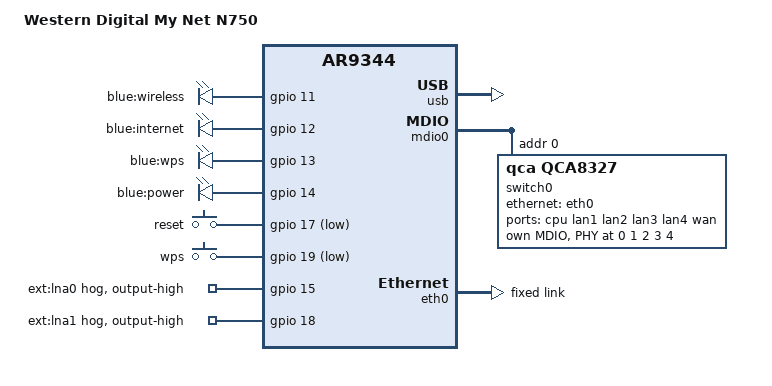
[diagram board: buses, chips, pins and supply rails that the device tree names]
// SPDX-License-Identifier: GPL-2.0-or-later OR MIT

#include "ar9344_wd_mynet-nxxx.dtsi"

/ {
	model = "Western Digital My Net N750";
	compatible = "wd,mynet-n750", "qca,ar9344";

	aliases {
		led-boot = &led_power;
		led-failsafe = &led_power;
		led-running = &led_power;
		led-upgrade = &led_power;
	};

	leds {
		compatible = "gpio-leds";

		wifi {
			label = "blue:wireless";
			gpios = <&gpio 11 GPIO_ACTIVE_HIGH>;
		};

		internet {
			label = "blue:internet";
			gpios = <&gpio 12 GPIO_ACTIVE_HIGH>;
		};

		wps {
			label = "blue:wps";
			gpios = <&gpio 13 GPIO_ACTIVE_HIGH>;
		};

		led_power: power {
			label = "blue:power";
			gpios = <&gpio 14 GPIO_ACTIVE_HIGH>;
		};
	};

	keys {
		compatible = "gpio-keys";

		reset {
			linux,code = <KEY_RESTART>;
			gpios = <&gpio 17 GPIO_ACTIVE_LOW>;
		};

		wps {
			linux,code = <KEY_WPS_BUTTON>;
			gpios = <&gpio 19 GPIO_ACTIVE_LOW>;
		};
	};
};

&gpio {
	gpio_ext_lna0 {
		gpio-hog;
		gpios = <15 0>;
		output-high;
		line-name = "ext:lna0";
	};

	gpio_ext_lna1 {
		gpio-hog;
		gpios = <18 0>;
		output-high;
		line-name = "ext:lna1";
	};
};

&usb {
	#address-cells = <1>;
	#size-cells = <0>;
	status = "okay";

	port@1 {
		#address-cells = <1>;
		#size-cells = <0>;
		reg = <1>;
		#trigger-source-cells = <0>;

		hub_port1: port@1 {
			reg = <1>;
			#trigger-source-cells = <0>;
		};

		hub_port2: port@2 {
			reg = <2>;
			#trigger-source-cells = <0>;
		};
	};
};

&mdio0 {
	status = "okay";

	phy-mask = <0>;

	switch0@10 {
		compatible = "qca,qca8327";
		#address-cells = <1>;
		#size-cells = <0>;

		reg = <0>;
		qca,ignore-power-on-sel;

		ports {
			#address-cells = <1>;
			#size-cells = <0>;

			port@0 {
				reg = <0>;
				label = "cpu";
				ethernet = <&eth0>;
				phy-mode = "rgmii-id";

				fixed-link {
					speed = <1000>;
					full-duplex;
				};
			};

			port@1 {
				reg = <1>;
				label = "lan1";
				phy-mode = "internal";
				phy-handle = <&phy_port1>;
			};

			port@2 {
				reg = <2>;
				label = "lan2";
				phy-mode = "internal";
				phy-handle = <&phy_port2>;
			};

			port@3 {
				reg = <3>;
				label = "lan3";
				phy-mode = "internal";
				phy-handle = <&phy_port3>;
			};

			port@4 {
				reg = <4>;
				label = "lan4";
				phy-mode = "internal";
				phy-handle = <&phy_port4>;
			};

			port@5 {
				reg = <5>;
				label = "wan";
				phy-mode = "internal";
				phy-handle = <&phy_port5>;
			};
		};

		mdio {
			#address-cells = <1>;
			#size-cells = <0>;

			phy_port1: phy@0 {
				reg = <0>;
			};

			phy_port2: phy@1 {
				reg = <1>;
			};

			phy_port3: phy@2 {
				reg = <2>;
			};

			phy_port4: phy@3 {
				reg = <3>;
			};

			phy_port5: phy@4 {
				reg = <4>;
			};
		};

	};
};

&eth0 {
	status = "okay";

	/* default for ar934x, except for 1000M */
	pll-data = <0x06000000 0x00000101 0x00001616>;

	fixed-link {
		speed = <1000>;
		full-duplex;
	};
};
